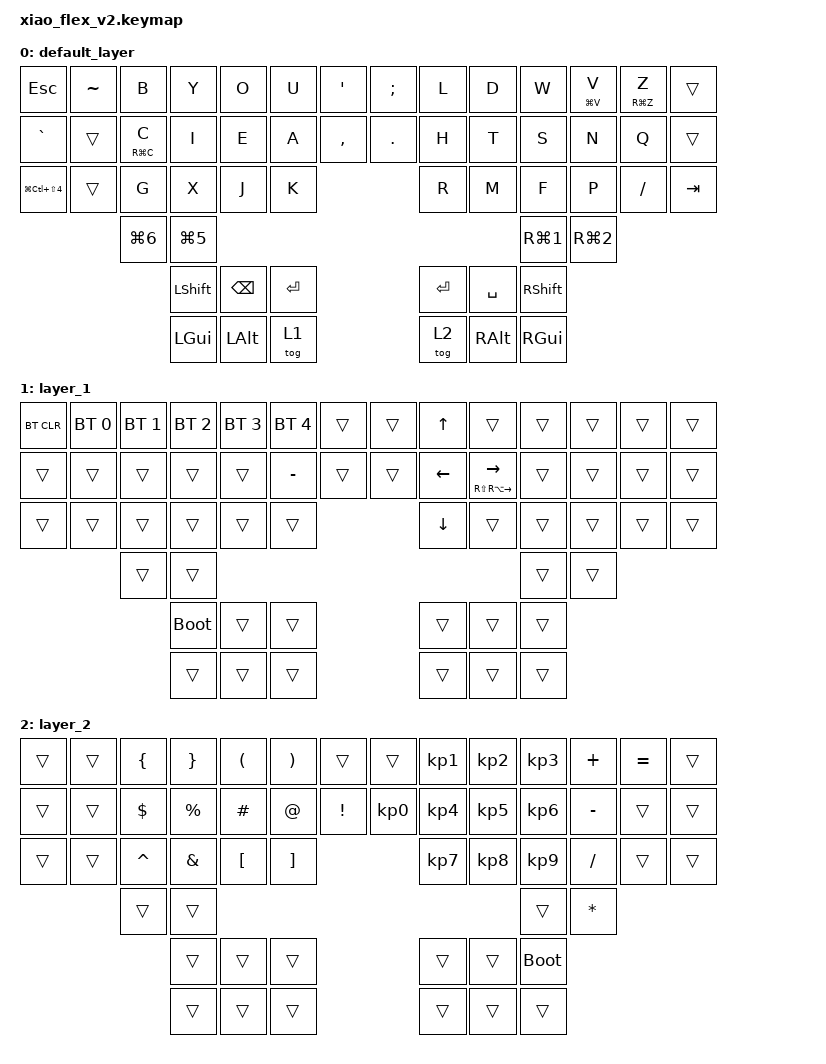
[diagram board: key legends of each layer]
/*
 * Copyright (c) 2020 The ZMK Contributors
 *
 * SPDX-License-Identifier: MIT
 */

#include <behaviors.dtsi>
#include <dt-bindings/zmk/bt.h>
#include <dt-bindings/zmk/keys.h>

/ {
    combos { compatible = "zmk,combos"; };

    keymap {
        compatible = "zmk,keymap";

        default_layer {
            bindings = <
&kp ESC                   &kp TILDE  &kp B             &kp Y       &kp O          &kp U      &kp SINGLE_QUOTE    &kp SEMI    &kp L    &kp D      &kp W             &mt LG(V) V       &mt RG(Z) Z  &trans
&kp GRAVE                 &trans     &mt RG(C) C       &kp I       &kp E          &kp A      &kp COMMA           &kp PERIOD  &kp H    &kp T      &kp S             &kp N             &kp Q        &trans
&kp LG(LC(LS(NUMBER_4)))  &trans     &kp G             &kp X       &kp J          &kp K                                      &kp R    &kp M      &kp F             &kp P             &kp FSLH     &kp TAB
                                     &kp LG(NUMBER_6)  &kp LG(N5)                                                                                &kp RG(NUMBER_1)  &kp RG(NUMBER_2)
                                                       &kp LSHFT   &kp BACKSPACE  &kp ENTER                                  &kp RET  &kp SPACE  &kp RSHFT
                                                       &kp LGUI    &kp LALT       &tog 1                                     &tog 2   &kp RALT   &kp RGUI
            >;
        };

        layer_1 {
            bindings = <
&bt BT_CLR  &bt BT_SEL 0  &bt BT_SEL 1  &bt BT_SEL 2  &bt BT_SEL 3  &bt BT_SEL 4  &trans    &trans  &kp UP_ARROW    &trans                         &trans  &trans  &trans  &trans
&trans      &trans        &trans        &trans        &trans        &kp MINUS     &trans    &trans  &kp LEFT        &mt RS(RA(RIGHT)) RIGHT_ARROW  &trans  &trans  &trans  &trans
&trans      &trans        &trans        &trans        &trans        &trans                          &kp DOWN_ARROW  &trans                         &trans  &trans  &trans  &trans
                          &trans        &trans                                                                                                     &trans  &trans
                                        &bootloader   &trans        &trans                          &trans          &trans                         &trans
                                        &trans        &trans        &trans                          &trans          &trans                         &trans
            >;
        };

        layer_2 {
            bindings = <
&trans  &trans  &kp LBRC    &kp RBRC       &kp LPAR  &kp RPAR     &trans             &trans           &kp KP_NUMBER_1  &kp KP_NUMBER_2  &kp KP_NUMBER_3  &kp PLUS      &kp EQUAL  &trans
&trans  &trans  &kp DOLLAR  &kp PERCENT    &kp HASH  &kp AT_SIGN  &kp EXCLAMATION    &kp KP_NUMBER_0  &kp KP_NUMBER_4  &kp KP_NUMBER_5  &kp KP_NUMBER_6  &kp MINUS     &trans     &trans
&trans  &trans  &kp CARET   &kp AMPERSAND  &kp LBKT  &kp RBKT                                         &kp KP_NUMBER_7  &kp KP_NUMBER_8  &kp KP_NUMBER_9  &kp SLASH     &trans     &trans
                &trans      &trans                                                                                                      &trans           &kp ASTERISK
                            &trans         &trans    &trans                                           &trans           &trans           &bootloader
                            &trans         &trans    &trans                                           &trans           &trans           &trans
            >;
        };
    };
};
